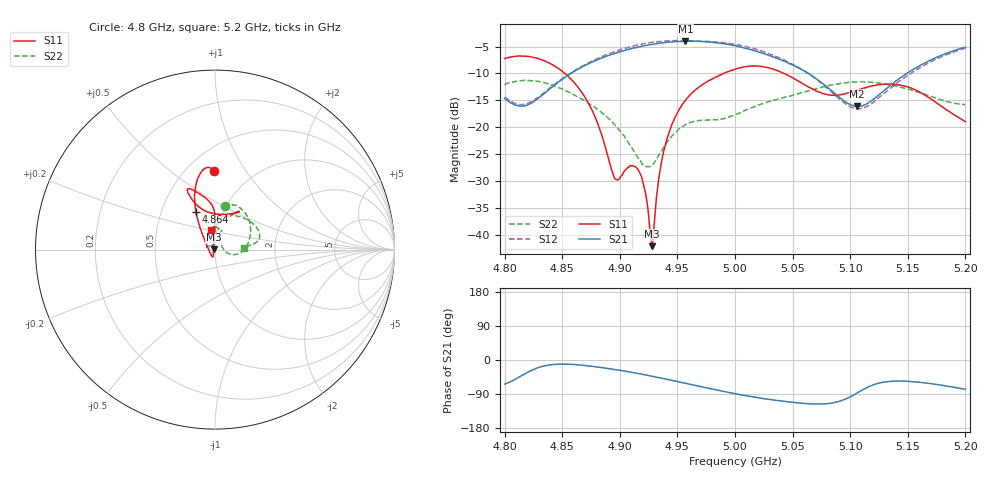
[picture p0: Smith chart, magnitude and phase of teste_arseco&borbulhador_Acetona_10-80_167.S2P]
! Network Analyzer HP8722D
! Hewlett-Packard
! Data name: Linha & Wilkinson
! Saver's name: Rodrigo Anjos
! Comments: Teste da utilização de aquisição
! continua pelo VNA HP8722D
! Time and date: 25/4/2025 16:39
!  Frequency  S11  S21  S12  S22
# HZ  S  MA R 50
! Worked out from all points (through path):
!   401 points, 4.8 GHz to 5.2 GHz, reference 50 ohm
!   highest |S21| = -3.99 dB at 4.957 GHz (marker M1); lowest = -16.1 dB at 5.106 GHz (marker M2)
!   lowest |S11| = -42.2 dB at 4.928 GHz (marker M3), VSWR 1.02, Z = 49.2 + j0.056 ohm
!   |S11| at or under -10 dB: 4.852 GHz to 4.99 GHz (137.8 MHz wide, 2.8 % of centre); 5.042 GHz to end of sweep
!   |S22| runs from -27.4 to -11.3 dB; largest |S21 - S12| = 1.2
!   S11 on the Smith chart (normalised r, x): 4.8 GHz: 0.67, +0.72; 4.864 GHz: 0.75, +0.33; 5.2 GHz: 0.94, +0.21
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4.8e9  0.4352 90.8  0.1852 -63.8  0.1907 69.6  0.2471 77.2
4.82e9  0.4543 97.2  0.1608 -32.4  0.1666 98.4  0.2718 61.9
4.843e9  0.3737 106.5  0.245 -11.8  0.2486 118.9  0.2426 37.2
4.864e9  0.2333 116.9  0.3487 -12.8  0.3514 121.0  0.1901 12.3
4.867e9  0.2104 118.5  0.3629 -13.6  0.3669 120.7  0.183 8.9
4.88e9  0.1139 128.7  0.4215 -18.3  0.4319 118.3  0.1484 -5.0
4.896e9  0.03298 -168.4  0.4861 -25.4  0.5061 113.3  0.1044 -15.8
4.909e9  0.0439 -109.3  0.5347 -31.9  0.5599 107.7  0.06793 -13.7
4.917e9  0.03819 -105.4  0.5607 -36.4  0.5881 103.6  0.04904 -1.0
4.922e9  0.02514 -109.2  0.5741 -39.2  0.6025 100.8  0.043 16.1
4.926e9  0.01121 -136.2  0.5857 -41.7  0.6112 98.4  0.04278 32.2
4.928e9  0.00779 175.8  0.5906 -42.9  0.6162 97.2  0.04494 40.8
4.934e9  0.03414 100.3  0.6036 -46.7  0.6272 93.4  0.05537 57.3
4.943e9  0.09072 91.4  0.6193 -52.4  0.6357 87.5  0.07692 68.5
4.957e9  0.1784 89.7  0.6317 -61.4  0.6385 78.7  0.1055 70.7
5e9  0.3464 109.3  0.5727 -89.1  0.5901 50.9  0.1304 88.0
5.029e9  0.3574 115.2  0.4669 -103.7  0.4855 34.3  0.172 85.8
5.067e9  0.2273 105.6  0.3009 -115.8  0.2979 23.6  0.2221 57.1
5.106e9  0.2205 65.0  0.1559 -86.9  0.148 55.9  0.2634 24.9
5.134e9  0.2515 57.6  0.2403 -56.6  0.2262 88.8  0.2483 12.5
5.168e9  0.1894 69.7  0.4119 -61.7  0.396 85.3  0.1964 7.0
5.2e9  0.1124 100.8  0.5545 -77.3  0.5431 70.2  0.162 3.8
